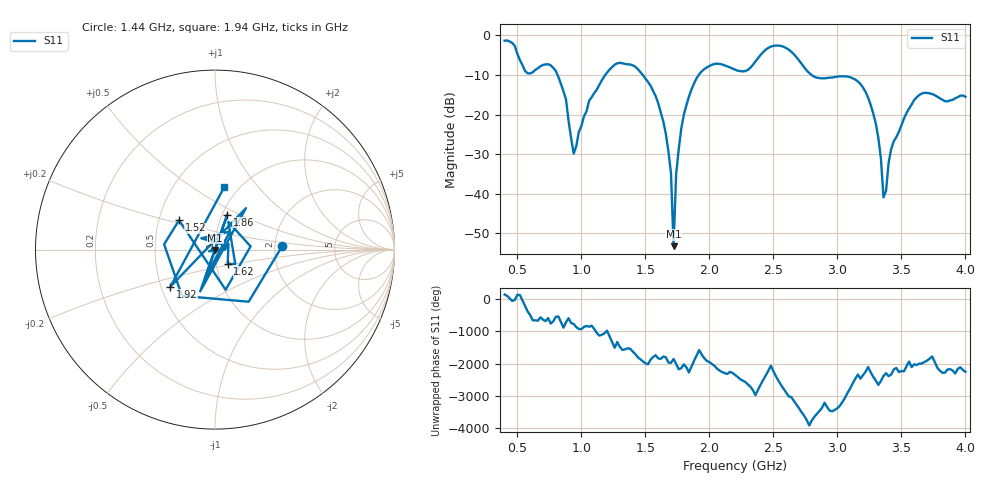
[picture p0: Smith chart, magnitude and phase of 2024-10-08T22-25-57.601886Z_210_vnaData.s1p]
! Created with skrf (http://scikit-rf.org).
# Hz S RI R 50.0
!freq ReS11 ImS11
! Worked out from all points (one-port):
!   181 points, 400 MHz to 4 GHz, reference 50 ohm
!   lowest |S11| = -53.3 dB at 1.72 GHz (marker M1), VSWR 1.00, Z = 50.1 - j0.173 ohm
!   |S11| at or under -10 dB: 813.6 MHz to 1.186 GHz (372.8 MHz wide, 37.3 % of centre); 1.48 GHz to 1.917 GHz (436.3 MHz wide, 25.7 % of centre); 2.798 GHz to end of sweep
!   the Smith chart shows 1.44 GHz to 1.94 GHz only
!   S11 on the Smith chart (normalised r, x): 1.44 GHz: 2.20, +0.11; 1.52 GHz: 0.64, +0.22; 1.62 GHz: 1.14, -0.18; 1.86 GHz: 1.06, +0.43; 1.92 GHz: 0.56, -0.26; 1.94 GHz: 0.86, +0.68
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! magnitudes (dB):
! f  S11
! 400 MHz  -1.3
! 580 MHz  -9.6
! 760 MHz  -7.6
! 860 MHz  -14.1
! 940 MHz  -29.9
! 1.06 GHz  -16.5
! 1.3 GHz  -6.9
! 1.44 GHz  -8.5
! 1.52 GHz  -11.7
! 1.62 GHz  -19.5
! 1.7 GHz  -34.8
! 1.72 GHz  -53.3
! 1.74 GHz  -35.1
! 1.76 GHz  -28.9
! 1.86 GHz  -13.7
! 1.92 GHz  -9.8
! 1.94 GHz  -9.1
! 2.2 GHz  -8.6
! 2.5 GHz  -2.6
! 2.66 GHz  -4.8
! 2.82 GHz  -10.4
! 3.1 GHz  -10.6
! 3.28 GHz  -19.7
! 3.34 GHz  -31.1
! 3.36 GHz  -40.9
! 3.42 GHz  -28.7
! 3.56 GHz  -18.5
! 4 GHz  -15.5
